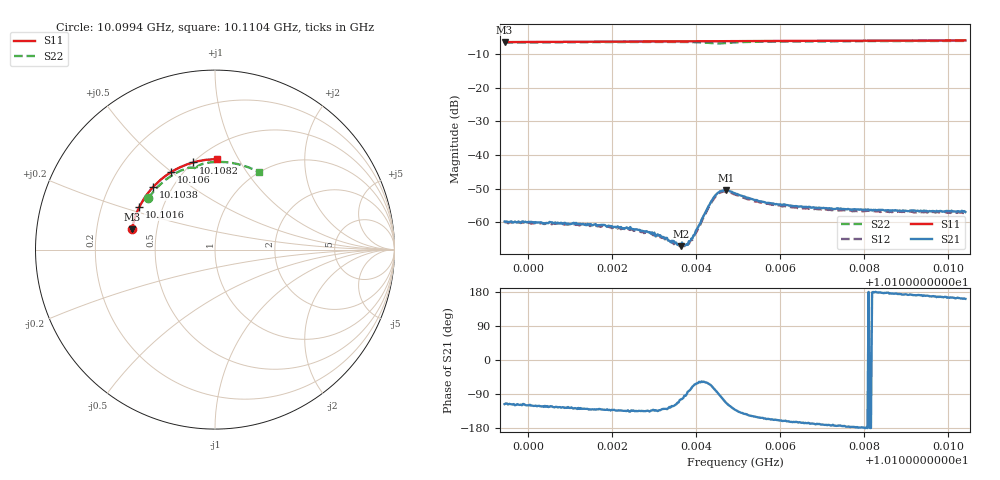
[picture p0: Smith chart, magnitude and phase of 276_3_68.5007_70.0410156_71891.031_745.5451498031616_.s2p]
#  HZ  S  RI  R  50.00
! Rohde & Schwarz Vector Network Analyzer
! Rohde-Schwarz,ZNB20-2Port,1311601062101988,3.16
! Created: UTC 3/20/2024, 5:00:58 PM
! freq[Hz]  re:S11  im:S11  re:S21  im:S21  re:S12  im:S12  re:S22  im:S22
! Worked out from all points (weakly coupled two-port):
!   401 points, 10.0994 GHz to 10.1104 GHz, reference 50 ohm
!   highest |S21| = -50.50 dB at 10.1047 GHz (marker M1); lowest = -67.0 dB at 10.1036 GHz (marker M2)
!   lowest |S11| = -6.4 dB at 10.0994 GHz (marker M3), VSWR 2.82, Z = 17.9 + j5.22 ohm
!   |S11| at or under -10 dB: nowhere
!   |S22| runs from -6.8 to -6.1 dB; largest |S21 - S12| = 0.00032
!   S11 on the Smith chart (normalised r, x): 10.0994 GHz: 0.36, +0.10; 10.1016 GHz: 0.37, +0.23; 10.1038 GHz: 0.39, +0.36; 10.106 GHz: 0.44, +0.50; 10.1082 GHz: 0.50, +0.65; 10.1104 GHz: 0.60, +0.82
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1.009944e10  -0.4631 0.1123  -0.00046 -0.000922  -0.000357 -0.00094  -0.3716 0.2865
1.010128e10  -0.4302 0.2192  -0.000586 -0.000724  -0.000526 -0.000721  -0.2922 0.3747
1.010163e10  -0.4209 0.2388  -0.00057 -0.000683  -0.000521 -0.000712  -0.2743 0.3893
1.010243e10  -0.397 0.281  -0.000613 -0.000592  -0.000499 -0.000589  -0.2314 0.4187
1.01029e10  -0.381 0.3044  -0.000514 -0.000499  -0.000446 -0.000538  -0.2041 0.4336
1.010312e10  -0.3732 0.3152  -0.000429 -0.000467  -0.000383 -0.000486  -0.1908 0.4399
1.010353e10  -0.3574 0.3346  -0.000226 -0.000447  -0.000161 -0.000426  -0.1642 0.4505
1.010364e10  -0.3532 0.3397  -0.000107 -0.000434  -8.37e-05 -0.00045  -0.1569 0.4526
1.010375e10  -0.3488 0.3446  -3.7e-05 -0.000453  -5.01e-06 -0.000449  -0.1491 0.4546
1.010383e10  -0.3453 0.3484  7.63e-05 -0.000519  0.000117 -0.000465  -0.143 0.456
1.010397e10  -0.3395 0.3544  0.000286 -0.000596  0.00032 -0.000572  -0.1327 0.457
1.01043e10  -0.3254 0.3686  0.000804 -0.00155  0.000895 -0.00141  -0.1089 0.4519
1.010441e10  -0.3207 0.373  0.000665 -0.00216  0.000828 -0.00199  -0.105 0.4471
1.010454e10  -0.3147 0.3788  -2.49e-05 -0.00279  0.00026 -0.00269  -0.1057 0.4435
1.010471e10  -0.3072 0.3852  -0.00112 -0.00277  -0.000836 -0.00271  -0.1078 0.4488
1.010493e10  -0.2972 0.394  -0.00178 -0.00203  -0.00154 -0.00208  -0.1001 0.4612
1.01054e10  -0.2748 0.4114  -0.00186 -0.0011  -0.00169 -0.00119  -0.0697 0.477
1.010603e10  -0.243 0.4326  -0.00172 -0.000635  -0.00159 -0.000745  -0.027 0.4857
1.010677e10  -0.2037 0.4543  -0.00162 -0.000353  -0.00154 -0.000464  0.0216 0.4886
1.010822e10  -0.1217 0.4857  -0.00153 1.25e-05  -0.00147 -0.000146  0.1149 0.4792
1.010861e10  -0.0991 0.4915  -0.00149 0.000127  -0.00142 -7.69e-05  0.1387 0.4736
1.011042e10  0.00951 0.504  -0.00135 0.000454  -0.00138 0.000278  0.2458 0.4314
